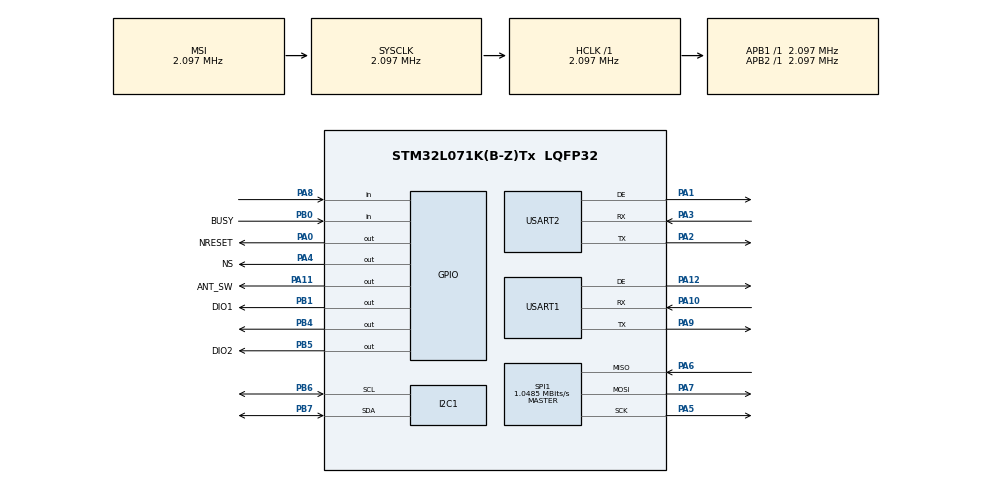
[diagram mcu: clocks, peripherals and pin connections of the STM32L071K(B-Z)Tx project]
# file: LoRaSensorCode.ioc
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Mcu.Family=STM32L0
Mcu.Name=STM32L071K(B-Z)Tx
Mcu.Package=LQFP32
PA0.GPIO_Label=NRESET
PA0.Signal=GPIO_Output
PA1.Mode=Hardware Flow Control (RS485)
PA1.Signal=USART2_DE
PA10.Mode=Asynchronous
PA10.Signal=USART1_RX
PA11.GPIO_Label=ANT_SW
PA11.Signal=GPIO_Output
PA12.Mode=Hardware Flow Control (RS485)
PA12.Signal=USART1_DE
PA13.Mode=Serial_Wire
PA13.Signal=SYS_SWDIO
PA14.Mode=Serial_Wire
PA14.Signal=SYS_SWCLK
PA2.Mode=Asynchronous
PA2.Signal=USART2_TX
PA3.Mode=Asynchronous
PA3.Signal=USART2_RX
PA4.GPIO_Label=NS
PA4.Signal=GPIO_Output
PA5.Mode=Full_Duplex_Master
PA5.Signal=SPI1_SCK
PA6.Mode=Full_Duplex_Master
PA6.Signal=SPI1_MISO
PA7.Mode=Full_Duplex_Master
PA7.Signal=SPI1_MOSI
PA8.Signal=GPIO_Input
PA9.Mode=Asynchronous
PA9.Signal=USART1_TX
PB0.GPIO_Label=BUSY
PB0.Signal=GPIO_Input
PB1.GPIO_Label=DIO1
PB1.Signal=GPIO_Output
PB4.Signal=GPIO_Output
PB5.GPIO_Label=DIO2
PB5.Signal=GPIO_Output
PB6.Mode=I2C
PB6.Signal=I2C1_SCL
PB7.Mode=I2C
PB7.Signal=I2C1_SDA
PC14-OSC32_IN.Mode=LSE-External-Oscillator
PC14-OSC32_IN.Signal=RCC_OSC32_IN
PC15-OSC32_OUT.Mode=LSE-External-Oscillator
PC15-OSC32_OUT.Signal=RCC_OSC32_OUT
ProjectManager.HeapSize=0x200
ProjectManager.StackSize=0x400
ProjectManager.TargetToolchain=STM32CubeIDE
RCC.AHBFreq_Value=2097000
RCC.APB1Freq_Value=2097000
RCC.APB1TimFreq_Value=2097000
RCC.APB2Freq_Value=2097000
RCC.APB2TimFreq_Value=2097000
RCC.HSI16_VALUE=16000000
RCC.HSI_VALUE=16000000
RCC.MSI_VALUE=2097000
RCC.SYSCLKFreq_VALUE=2097000
RCC.VCOOutputFreq_Value=48000000
SPI1.CalculateBaudRate=1.0485 MBits/s
SPI1.Direction=SPI_DIRECTION_2LINES
SPI1.Mode=SPI_MODE_MASTER
SPI1.VirtualType=VM_MASTER
USART1.VirtualMode-Asynchronous=VM_ASYNC
USART1.VirtualMode-Hardware\ Flow\ Control\ (RS485)=VM_ASYNC
USART2.VirtualMode-Asynchronous=VM_ASYNC
USART2.VirtualMode-Hardware\ Flow\ Control\ (RS485)=VM_ASYNC
VP_ADC_TempSens_Input.Mode=IN-TempSens
VP_ADC_Vref_Input.Mode=IN-Vrefint
board=custom

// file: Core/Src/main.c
/* USER CODE BEGIN Header */
/**
 ******************************************************************************
 * @file           : main.c
 * @brief          : Main program body
 ******************************************************************************
 * Program will wake up, attempt to measure internal temperature, turn on a tcxo,
 * broadcast a packet on LoRa, and then return to deep sleep for ie 5 minutes.
 *
 * @attention
 *
 * Copyright (c) 2023 STMicroelectronics.
 * All rights reserved.
 *
 * This software is licensed under terms that can be found in the LICENSE file
 * in the root directory of this software component.
 * If no LICENSE file comes with this software, it is provided AS-IS.
 *
 ******************************************************************************
 */
/* USER CODE END Header */
#include "main.h"
#include "adc.h"
#include "i2c.h"
#include "spi.h"
#include "usart.h"
#include "gpio.h"

/* USER CODE BEGIN Includes */
#ifndef STM32L071xx
#define STM32L071xx
#endif
#include "sx126x.h"
#include "stddef.h"
/* USER CODE END Includes */

/* USER CODE BEGIN PD */
#ifndef STM32L071xx
#define STM32L071xx
#endif

//#define SENDS_LORA 1
#define RX_BUFFER_OFFSET 128

/* USER CODE END PD */

void SystemClock_Config(void);

int main(void)
{

  /* MCU Configuration--------------------------------------------------------*/

  /* Reset of all peripherals, Initializes the Flash interface and the Systick. */
  HAL_Init();

  /* Configure the system clock */
  SystemClock_Config();

  /* USER CODE BEGIN SysInit */
  // TODO: measure power usage, turn on/off gpios (set as inputs?) to decrease current draw
  /* USER CODE END SysInit */

  /* Initialize all configured peripherals */
  MX_GPIO_Init();
  MX_I2C1_Init();
  MX_SPI1_Init();
  MX_USART1_UART_Init();
  MX_USART2_UART_Init();
  MX_ADC_Init();
  /* USER CODE BEGIN 2 */
  //Ensure radio starts up with a full reset
  HAL_GPIO_WritePin(NRESET_GPIO_Port, NRESET_Pin, GPIO_PIN_RESET);
  HAL_Delay(150);
  HAL_GPIO_WritePin(NRESET_GPIO_Port, NRESET_Pin, GPIO_PIN_SET);

  // CS pin should default high
  HAL_GPIO_WritePin(NS_GPIO_Port, NS_Pin, GPIO_PIN_RESET);
  ReadyForTx(false);
  ReadyForRx(false);
  while (1)
  {
    //clear_spi_rx(&hspi1);
    //volatile uint8_t msgrx = 0;
    sx126x_chip_status_t radioStatus;
    radioStatus.chip_mode = SX126X_CHIP_MODE_UNUSED;
    radioStatus.cmd_status = SX126X_CMD_STATUS_RESERVED;
    sx126x_errors_mask_t errorMask = 0;
    sx126x_irq_mask_t irq_status = 0;

    HAL_GPIO_WritePin(NS_GPIO_Port, NS_Pin, GPIO_PIN_SET);
    ProcessCommands();
    errorMask = 0;
    sx126x_get_device_errors(&hspi1, &errorMask);
    errorMask = errorMask & 0x17F; //removes all the bits that are RFU
    if (errorMask)
    {
      sx126x_clear_device_errors(&hspi1);
      errorMask = 0;
    }
    ProcessCommands();
    uint8_t cfg = STDBY_RC;
    uint8_t packet_type = SX126X_PKT_TYPE_LORA;
    uint32_t freqInHertz = 918000000; // 918Mhz
    sx126x_pa_cfg_params_t PA_Config;
    PA_Config.pa_duty_cycle = 0x02; //For SX1262, paDutyCycle should not be higher than 0x04.
    PA_Config.hp_max = 0x02;        //Do not set higher than 0x07 (early aging of device)
    PA_Config.device_sel = 0x00;    //0x00 to select the sx2162
    PA_Config.pa_lut = 0x01;        //reserved, always set to 0x01
    sx126x_mod_params_lora_t LoraParams;
    LoraParams.bw = SX126X_LORA_BW_125;
    LoraParams.sf = SX126X_LORA_SF7;
    LoraParams.cr = SX126X_LORA_CR_4_5;
    LoraParams.ldro = false;
    sx126x_pkt_params_lora_t PacketParams;
    PacketParams.crc_is_on = true;
    PacketParams.header_type = SX126X_LORA_PKT_IMPLICIT;
    PacketParams.preamble_len_in_symb = 8;
    PacketParams.invert_iq_is_on = false;
    PacketParams.pld_len_in_bytes = MAX_PACKET_LENGTH;

    // Delay duration = Delay(23:0) *15.625 μs
    uint32_t tcxo_delay = TCXO_BOOT_TIME_MS * 1000000 / 15625; // magic number comes from 13.3.5 "SetDIO2AsRfSwitchCtrl", page 84 of DS_SX1261-2_v2.1.pdf
    sx126x_tcxo_ctrl_voltages_t tcxo_voltage = SX126X_TCXO_CTRL_1_8V;

    uint8_t TxPower = 0; // In dbM
    uint8_t buffer[MAX_PACKET_LENGTH] = { 0 };
    sx126x_set_standby(&hspi1, cfg);
    ProcessCommands();
    sx126x_set_pkt_type(&hspi1, packet_type);
    ProcessCommands();
    sx126x_set_rf_freq(&hspi1, freqInHertz);
    ProcessCommands();
    sx126x_set_pa_cfg(&hspi1, &PA_Config);
    ProcessCommands();
    sx126x_set_dio2_as_rf_sw_ctrl(&hspi1, false); // although we use DIO2 as an rf switch, also need to use
    ProcessCommands();
    sx126x_set_dio3_as_tcxo_ctrl(&hspi1, tcxo_voltage, tcxo_delay);
    ProcessCommands();
    sx126x_set_tx_params(&hspi1, TxPower, SX126X_RAMP_80_US);
    ProcessCommands();
    sx126x_set_dio_irq_params(&hspi1, SX126X_IRQ_ALL, SX126X_IRQ_ALL, 0, 0);
    ProcessCommands();
    sx126x_set_buffer_base_address(&hspi1, 0, RX_BUFFER_OFFSET); // give each 128 length in a shared buffer; may be nicer to allow for the full 8byte buffer to be shared between the two?
    ProcessCommands();
    sx126x_set_lora_mod_params(&hspi1, &LoraParams);
    ProcessCommands();
    sx126x_set_lora_pkt_params(&hspi1, &PacketParams);
    ProcessCommands();
    sx126x_set_lora_sync_word(&hspi1, 0x12); // 0x12 equates to 1424 (Set to 0x1424 for Private Network, Table 12-1 )
    ProcessCommands();
    //1000 0001 0111 0100
#ifdef SENDS_LORA
    uint8_t timeout_ms = 100;
    buffer[0] = 's';
    buffer[1] = 'h';
    buffer[2] = 'i';
    buffer[3] = 't';
    buffer[4] = 's';
    buffer[5] = 'h';
    buffer[6] = 'i';
    buffer[7] = 't';
    sx126x_write_buffer(&hspi1, 0, buffer, MAX_PACKET_LENGTH);
    ProcessCommands();
    ReadyForTx(true);
    ProcessCommands();
    sx126x_set_tx(&hspi1, timeout_ms);
    ProcessCommands();
    ReadyForTx(false);
    ProcessCommands();
    HAL_Delay(1000);
#else
    //check rx_done, buffer
    ReadyForTx(false);
    ReadyForRx(true);
    sx126x_set_rx(&hspi1, 1500); //enter RX_Continuous mode; this should really be done prior to entering this loop.
    HAL_Delay(1500);
    sx126x_get_irq_status(&hspi1, &irq_status);
    ProcessCommands();
    if (irq_status & SX126X_IRQ_RX_DONE)
    {
      //message received
      memset(buffer, 0, MAX_PACKET_LENGTH);
      sx126x_read_buffer(&hspi1, RX_BUFFER_OFFSET, buffer, MAX_PACKET_LENGTH);
      ProcessCommands();
      sx126x_clear_irq_status(&hspi1, SX126X_IRQ_ALL);
      ProcessCommands();
      sx126x_get_irq_status(&hspi1, &irq_status);
      ProcessCommands();
    }
//TODO move RX handling code to an interrupt and the set_rx command out of the loop

    //code here to check rx buffer
    ProcessCommands();
#endif
    sx126x_get_and_clear_irq_status(&hspi1, &irq_status);
    ProcessCommands();
    sx126x_get_device_errors(&hspi1, &errorMask);
    errorMask = errorMask & 0x17F; //removes all the bits that are RFU
    ProcessCommands();
    sx126x_get_status(&hspi1, &radioStatus);
    // pause half a second
    HAL_GPIO_WritePin(NS_GPIO_Port, NS_Pin, GPIO_PIN_SET); // set NS high; radio should sleep

    ProcessCommands();
    // TODO irq tx done or timeout & clear tx_done flag

    /*
    *TODO: create functions for my code to interface with the sx1262:
      - sx126x_hal_reset
      - sx126x_hal_wakeup

    */
    /*
     * 1. If not in STDBY_RC mode, then go to this mode with the command SetStandby(...)
     * 2. Define the protocol (LoRa® or FSK) with the command SetPacketType(...)
     * 3. Define the RF frequency with the command SetRfFrequency(...)
     * 4. Define the Power Amplifier configuration with the command SetPaConfig(...)
     * 5. Define output power and ramping time with the command SetTxParams(...)
     * 6. Define where the data payload will be stored with the command SetBufferBaseAddress(...)
     * 7. Send the payload to the data buffer with the command WriteBuffer(...)
     * 8. Define the modulation parameter according to the chosen protocol with the command SetModulationParams(...)1
     * 9. Define the frame format to be used with the command SetPacketParams(...)2
     * 10. Configure DIO and IRQ: use the command SetDioIrqParams(...) to select TxDone IRQ and map this IRQ to a DIO (DIO1,
     * DIO2 or DIO3)
     * 11. Define Sync Word value: use the command WriteReg(...) to write the value of the register via direct register access
     * 12. Set the circuit in transmitter mode to start transmission with the command SetTx(). Use the parameter to enable
     * Timeout
     * 13. Wait for the IRQ TxDone or Timeout: once the packet has been sent the chip goes automatically to STDBY_RC mode
     * 14. Clear the IRQ TxDone flag
     */
  }

  /* USER CODE END 2 */

  /* Infinite loop */
  /* USER CODE BEGIN WHILE */
  // TODO some form of state machine?

  while (1)
  {
    /* USER CODE END WHILE */

  }
}

void SystemClock_Config(void)
{
  RCC_OscInitTypeDef RCC_OscInitStruct = {0};
  RCC_ClkInitTypeDef RCC_ClkInitStruct = {0};
  RCC_PeriphCLKInitTypeDef PeriphClkInit = {0};

  /** Configure the main internal regulator output voltage
  */
  __HAL_PWR_VOLTAGESCALING_CONFIG(PWR_REGULATOR_VOLTAGE_SCALE1);

  /** Initializes the RCC Oscillators according to the specified parameters
  * in the RCC_OscInitTypeDef structure.
  */
  RCC_OscInitStruct.OscillatorType = RCC_OSCILLATORTYPE_MSI;
  RCC_OscInitStruct.MSIState = RCC_MSI_ON;
  RCC_OscInitStruct.MSICalibrationValue = 0;
  RCC_OscInitStruct.MSIClockRange = RCC_MSIRANGE_5;
  RCC_OscInitStruct.PLL.PLLState = RCC_PLL_NONE;
  if (HAL_RCC_OscConfig(&RCC_OscInitStruct) != HAL_OK)
  {
    Error_Handler();
  }

  /** Initializes the CPU, AHB and APB buses clocks
  */
  RCC_ClkInitStruct.ClockType = RCC_CLOCKTYPE_HCLK|RCC_CLOCKTYPE_SYSCLK
                              |RCC_CLOCKTYPE_PCLK1|RCC_CLOCKTYPE_PCLK2;
  RCC_ClkInitStruct.SYSCLKSource = RCC_SYSCLKSOURCE_MSI;
  RCC_ClkInitStruct.AHBCLKDivider = RCC_SYSCLK_DIV1;
  RCC_ClkInitStruct.APB1CLKDivider = RCC_HCLK_DIV1;
  RCC_ClkInitStruct.APB2CLKDivider = RCC_HCLK_DIV1;

  if (HAL_RCC_ClockConfig(&RCC_ClkInitStruct, FLASH_LATENCY_0) != HAL_OK)
  {
    Error_Handler();
  }
  PeriphClkInit.PeriphClockSelection = RCC_PERIPHCLK_USART1|RCC_PERIPHCLK_USART2
                              |RCC_PERIPHCLK_I2C1;
  PeriphClkInit.Usart1ClockSelection = RCC_USART1CLKSOURCE_PCLK2;
  PeriphClkInit.Usart2ClockSelection = RCC_USART2CLKSOURCE_PCLK1;
  PeriphClkInit.I2c1ClockSelection = RCC_I2C1CLKSOURCE_PCLK1;
  if (HAL_RCCEx_PeriphCLKConfig(&PeriphClkInit) != HAL_OK)
  {
    Error_Handler();
  }
}

/* USER CODE BEGIN 4 */
void ProcessCommands(void)
{
    bool RadioBusy = true;
    while (RadioBusy) // wait for modem to turn on
    {
      bool PinStatus = HAL_GPIO_ReadPin(BUSY_GPIO_Port, BUSY_Pin);
      RadioBusy = PinStatus;
    }
}

/* USER CODE END 4 */

void Error_Handler(void)
{
  __disable_irq();
  while (1)
  {
  }
}
